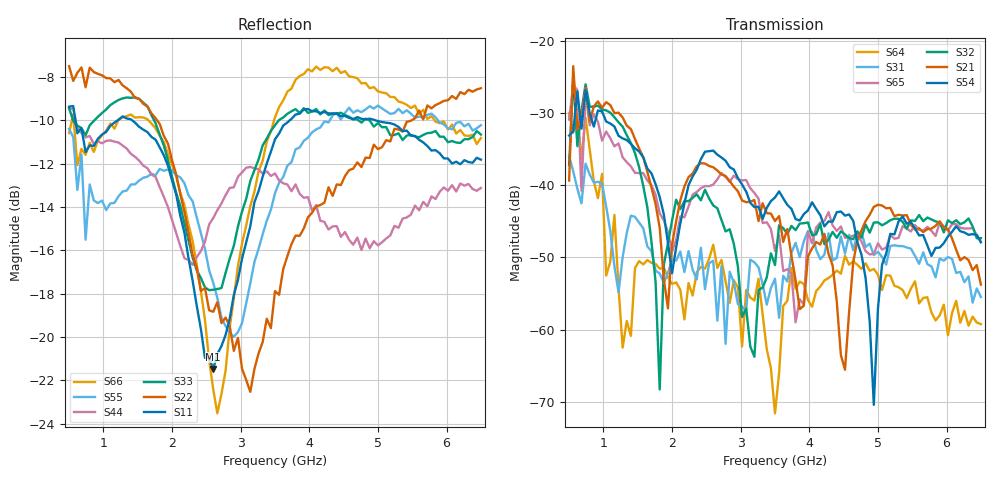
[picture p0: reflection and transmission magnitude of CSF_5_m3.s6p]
!Keysight Technologies,M9804A,MY58100912,A.14.10.03
!Date: Thursday, April 27, 2023 10:28:33
!Correction: S11(C  6-Port  )
!S12(C  6-Port  )
!S13(C  6-Port  )
!S14(C  6-Port  )
!S15(C  6-Port  )
!S16(C  6-Port  )
!S21(C  6-Port  )
!S22(C  6-Port  )
!S23(C  6-Port  )
!S24(C  6-Port  )
!S25(C  6-Port  )
!S26(C  6-Port  )
!S31(C  6-Port  )
!S32(C  6-Port  )
!S33(C  6-Port  )
!S34(C  6-Port  )
!S35(C  6-Port  )
!S36(C  6-Port  )
!S41(C  6-Port  )
!S42(C  6-Port  )
!S43(C  6-Port  )
!S44(C  6-Port  )
!S45(C  6-Port  )
!S46(C  6-Port  )
!S51(C  6-Port  )
!S52(C  6-Port  )
!S53(C  6-Port  )
!S54(C  6-Port  )
!S55(C  6-Port  )
!S56(C  6-Port  )
!S61(C  6-Port  )
!S62(C  6-Port  )
!S63(C  6-Port  )
!S64(C  6-Port  )
!S65(C  6-Port  )
!S66(C  6-Port  )
!S6P File: Measurement: :
# Hz S  RI  R 50
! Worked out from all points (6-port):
!   101 points, 500 MHz to 6.5 GHz, reference 50 ohm
!   strongest paths, dB at 500 MHz, 2 GHz, 3.5 GHz, 5 GHz, 6.5 GHz:
!     S54: -33.1, -52.2, -41.7, -57.1, -47.9
!     S21: -39.3, -48.2, -44.9, -42.7, -53.8
!     S32: -37.2, -44.9, -51.1, -45.1, -47.3
!     S65: -30.9, -49.2, -49.1, -48.0, -47.8
!     S31: -35.9, -50.3, -52.9, -49.2, -55.5
!     S64: -29.9, -53.7, -71.6, -52.4, -59.2
!   lowest |S11| = -21.5 dB at 2.6 GHz (marker M1), VSWR 1.18, Z = 42.5 + j2.17 ohm
!   |S11| at or under -10 dB: 591.8 MHz to 1.204 GHz (611.9 MHz wide, 68.2 % of centre); 1.421 GHz to 3.713 GHz (2.292 GHz wide, 89.3 % of centre); 4.971 GHz to end of sweep
